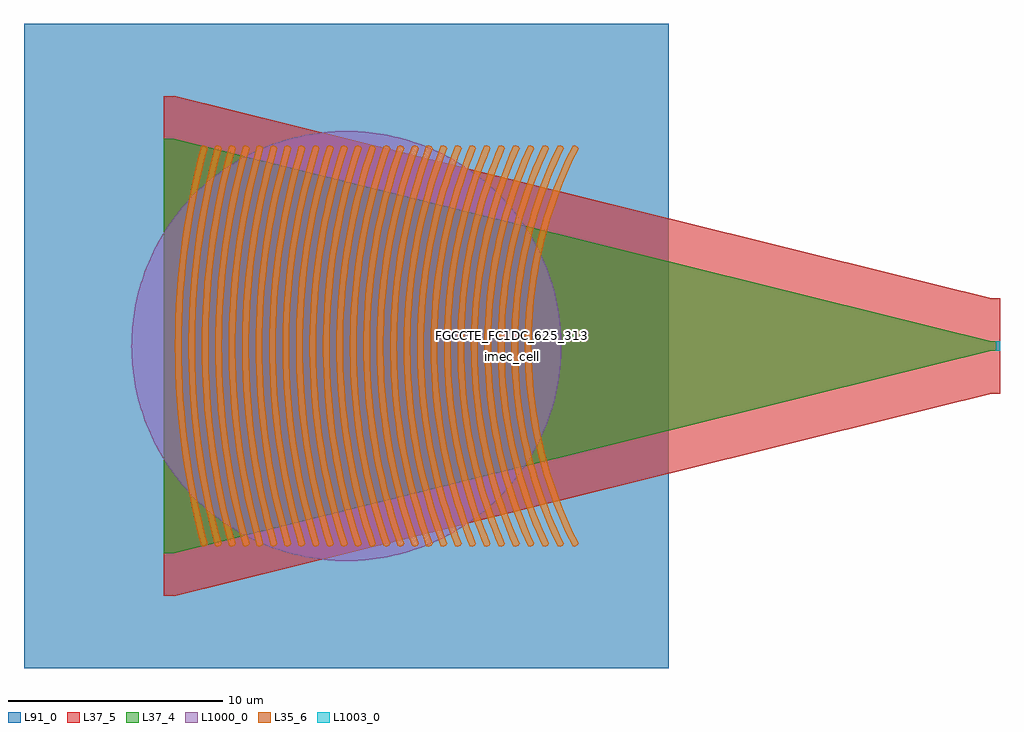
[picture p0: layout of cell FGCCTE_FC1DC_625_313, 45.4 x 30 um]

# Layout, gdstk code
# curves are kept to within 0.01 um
import gdstk
lib = gdstk.Library(unit=1e-6, precision=1e-09)
def R(c, l, rs):  # rectangles x0, y0, x1, y1
    for r in rs: c.add(gdstk.rectangle(r[:2], r[2:], *l))
def P(c, l, *ps):  # polygons
    for p in ps: c.add(gdstk.Polygon(p, *l))
L35_6 = (35, 6)
L37_4 = (37, 4)
L37_5 = (37, 5)
L91_0 = (91, 0)
L1000_0 = (1000, 0)
L1003_0 = (1003, 0)

fgccte_fc1dc_625_313 = lib.new_cell('FGCCTE_FC1DC_625_313')
P(fgccte_fc1dc_625_313, L35_6, [(10.629,-9.337),(10.518,-9.319),(10.058,-8.35),(9.78,-7.689),(9.525,-7.02),(9.293,-6.342),(9.084,-5.657),(8.9,-4.965),(8.668,-3.916),(8.545,-3.21),(8.446,-2.501),(8.371,-1.788),(8.321,-1.074),(8.293,0),(8.321,1.074),(8.371,1.788),(8.446,2.501),(8.545,3.21),(8.668,3.916),(8.9,4.965),(9.084,5.657),(9.293,6.342),(9.525,7.02),(9.78,7.689),(10.058,8.35),(10.518,9.319),(10.629,9.337),(10.745,9.279),(10.799,9.181),(10.345,8.223),(10.07,7.573),(9.819,6.914),(9.59,6.246),(9.385,5.571),(9.204,4.889),(9.046,4.202),(8.854,3.161),(8.717,2.112),(8.634,1.058),(8.606,0),(8.634,-1.058),(8.717,-2.112),(8.854,-3.161),(9.046,-4.202),(9.204,-4.889),(9.385,-5.571),(9.59,-6.246),(9.819,-6.914),(10.07,-7.573),(10.345,-8.223),(10.799,-9.181),(10.745,-9.279)],
  [(9.933,-9.337),(9.823,-9.317),(9.509,-8.646),(9.082,-7.618),(8.828,-6.921),(8.598,-6.215),(8.3,-5.143),(8.133,-4.42),(7.991,-3.691),(7.826,-2.591),(7.719,-1.483),(7.68,-0.742),(7.668,0),(7.68,0.742),(7.719,1.483),(7.826,2.591),(7.991,3.691),(8.133,4.42),(8.3,5.143),(8.598,6.215),(8.828,6.921),(9.082,7.618),(9.509,8.646),(9.823,9.317),(9.933,9.337),(10.051,9.281),(10.105,9.183),(9.795,8.519),(9.509,7.846),(9.124,6.819),(8.898,6.123),(8.696,5.421),(8.439,4.354),(8.239,3.276),(8.095,2.189),(8.009,1.096),(7.981,0),(8.009,-1.096),(8.095,-2.189),(8.239,-3.276),(8.439,-4.354),(8.696,-5.421),(8.898,-6.123),(9.124,-6.819),(9.509,-7.846),(9.795,-8.519),(10.105,-9.183),(10.051,-9.281)],
  [(9.242,-9.336),(9.132,-9.316),(8.675,-8.281),(8.401,-7.577),(8.151,-6.865),(7.925,-6.144),(7.635,-5.05),(7.401,-3.942),(7.225,-2.823),(7.108,-1.697),(7.062,-0.943),(7.042,-0.189),(7.062,0.943),(7.14,2.073),(7.277,3.197),(7.401,3.942),(7.55,4.682),(7.725,5.416),(7.925,6.144),(8.151,6.865),(8.401,7.577),(8.675,8.281),(9.132,9.316),(9.242,9.336),(9.36,9.282),(9.416,9.184),(8.965,8.162),(8.694,7.468),(8.448,6.766),(8.226,6.056),(8.028,5.338),(7.779,4.25),(7.587,3.151),(7.452,2.043),(7.394,1.301),(7.355,0.186),(7.375,-0.93),(7.452,-2.043),(7.587,-3.151),(7.779,-4.25),(8.028,-5.338),(8.226,-6.056),(8.448,-6.766),(8.694,-7.468),(8.965,-8.162),(9.416,-9.184),(9.36,-9.282)],
  [(8.555,-9.336),(8.445,-9.314),(7.993,-8.255),(7.722,-7.535),(7.362,-6.44),(7.154,-5.7),(6.971,-4.954),(6.814,-4.202),(6.682,-3.445),(6.534,-2.301),(6.445,-1.152),(6.416,0),(6.445,1.152),(6.534,2.301),(6.682,3.445),(6.814,4.202),(6.971,4.954),(7.154,5.7),(7.362,6.44),(7.722,7.535),(7.993,8.255),(8.445,9.314),(8.555,9.336),(8.674,9.283),(8.731,9.186),(8.427,8.49),(8.147,7.786),(7.774,6.712),(7.456,5.621),(7.276,4.885),(7.121,4.143),(6.936,3.021),(6.81,1.892),(6.758,1.136),(6.729,0),(6.758,-1.136),(6.81,-1.892),(6.936,-3.021),(7.121,-4.143),(7.276,-4.885),(7.456,-5.621),(7.774,-6.712),(8.147,-7.786),(8.427,-8.49),(8.731,-9.186),(8.674,-9.283)],
  [(7.872,-9.335),(7.762,-9.312),(7.451,-8.577),(7.166,-7.831),(6.787,-6.694),(6.567,-5.925),(6.374,-5.15),(6.136,-3.975),(5.96,-2.79),(5.845,-1.597),(5.804,-0.799),(5.79,0),(5.804,0.799),(5.845,1.597),(5.96,2.79),(6.136,3.975),(6.374,5.15),(6.567,5.925),(6.787,6.694),(7.166,7.831),(7.451,8.577),(7.762,9.312),(7.872,9.335),(7.991,9.284),(8.049,9.188),(7.598,8.093),(7.204,6.978),(6.975,6.224),(6.771,5.463),(6.516,4.308),(6.322,3.142),(6.188,1.968),(6.116,0.788),(6.103,0),(6.116,-0.788),(6.188,-1.968),(6.322,-3.142),(6.516,-4.308),(6.771,-5.463),(6.975,-6.224),(7.204,-6.978),(7.598,-8.093),(8.049,-9.188),(7.991,-9.284)],
  [(7.191,-9.335),(7.082,-9.311),(6.773,-8.558),(6.491,-7.794),(6.116,-6.63),(5.9,-5.845),(5.712,-5.052),(5.481,-3.852),(5.312,-2.642),(5.207,-1.425),(5.165,-0.204),(5.172,0.611),(5.207,1.425),(5.312,2.642),(5.481,3.852),(5.712,5.052),(5.9,5.845),(6.116,6.63),(6.491,7.794),(6.773,8.558),(7.082,9.311),(7.191,9.335),(7.311,9.285),(7.37,9.189),(6.922,8.068),(6.533,6.927),(6.307,6.156),(6.107,5.377),(5.859,4.197),(5.727,3.404),(5.582,2.207),(5.519,1.406),(5.478,0.201),(5.485,-0.603),(5.547,-1.807),(5.672,-3.006),(5.859,-4.197),(6.107,-5.377),(6.307,-6.156),(6.533,-6.927),(6.922,-8.068),(7.37,-9.189),(7.311,-9.285)],
  [(6.514,-9.335),(6.405,-9.309),(6.098,-8.538),(5.818,-7.756),(5.564,-6.964),(5.338,-6.164),(5.051,-4.951),(4.827,-3.725),(4.667,-2.489),(4.57,-1.246),(4.538,0),(4.57,1.246),(4.667,2.489),(4.827,3.725),(5.051,4.951),(5.338,6.164),(5.564,6.964),(5.818,7.756),(6.098,8.538),(6.405,9.309),(6.514,9.335),(6.635,9.286),(6.695,9.191),(6.249,8.042),(5.864,6.874),(5.641,6.084),(5.445,5.288),(5.203,4.081),(5.076,3.271),(4.939,2.048),(4.865,0.82),(4.851,0),(4.865,-0.82),(4.939,-2.048),(5.076,-3.271),(5.203,-4.081),(5.445,-5.288),(5.641,-6.084),(5.864,-6.874),(6.249,-8.042),(6.695,-9.191),(6.635,-9.286)],
  [(5.84,-9.334),(5.731,-9.308),(5.425,-8.517),(5.147,-7.716),(4.781,-6.497),(4.478,-5.261),(4.24,-4.012),(4.066,-2.751),(3.957,-1.484),(3.913,-0.212),(3.935,1.06),(4.022,2.329),(4.174,3.592),(4.392,4.846),(4.673,6.087),(4.896,6.906),(5.147,7.716),(5.425,8.517),(5.731,9.308),(5.84,9.334),(5.961,9.286),(6.022,9.192),(5.578,8.015),(5.196,6.818),(4.877,5.603),(4.62,4.373),(4.484,3.547),(4.334,2.3),(4.247,1.047),(4.226,0.209),(4.247,-1.047),(4.298,-1.883),(4.427,-3.132),(4.548,-3.961),(4.784,-5.195),(4.976,-6.01),(5.196,-6.818),(5.578,-8.015),(6.022,-9.192),(5.961,-9.286)],
  [(5.168,-9.334),(5.059,-9.306),(4.755,-8.496),(4.478,-7.675),(4.116,-6.427),(3.818,-5.162),(3.586,-3.883),(3.419,-2.595),(3.319,-1.299),(3.286,0),(3.319,1.299),(3.419,2.595),(3.586,3.883),(3.818,5.162),(4.116,6.427),(4.478,7.675),(4.755,8.496),(5.059,9.306),(5.168,9.334),(5.289,9.287),(5.351,9.194),(4.909,7.987),(4.531,6.76),(4.215,5.516),(3.964,4.258),(3.778,2.988),(3.691,2.137),(3.632,1.283),(3.599,0),(3.632,-1.283),(3.691,-2.137),(3.778,-2.988),(3.964,-4.258),(4.215,-5.516),(4.531,-6.76),(4.909,-7.987),(5.351,-9.194),(5.289,-9.287)],
  [(4.498,-9.334),(4.39,-9.305),(4.086,-8.474),(3.811,-7.633),(3.452,-6.354),(3.159,-5.059),(2.933,-3.75),(2.82,-2.872),(2.706,-1.549),(2.661,-0.221),(2.684,1.106),(2.775,2.431),(2.933,3.75),(3.159,5.059),(3.452,6.354),(3.811,7.633),(4.086,8.474),(4.39,9.305),(4.498,9.334),(4.62,9.288),(4.683,9.195),(4.242,7.957),(3.866,6.7),(3.555,5.426),(3.31,4.137),(3.183,3.271),(3.086,2.402),(3.019,1.53),(2.974,0.219),(2.982,-0.656),(3.049,-1.966),(3.183,-3.271),(3.31,-4.137),(3.555,-5.426),(3.866,-6.7),(4.242,-7.957),(4.683,-9.195),(4.62,-9.288)],
  [(3.831,-9.333),(3.722,-9.304),(3.419,-8.452),(3.145,-7.589),(2.789,-6.278),(2.501,-4.951),(2.347,-4.058),(2.173,-2.712),(2.069,-1.358),(2.034,0),(2.069,1.358),(2.173,2.712),(2.347,4.058),(2.501,4.951),(2.789,6.278),(3.145,7.589),(3.419,8.452),(3.722,9.304),(3.831,9.333),(3.953,9.289),(4.016,9.196),(3.577,7.927),(3.203,6.638),(2.896,5.331),(2.656,4.011),(2.534,3.124),(2.408,1.788),(2.363,0.895),(2.347,0),(2.363,-0.895),(2.408,-1.788),(2.534,-3.124),(2.656,-4.011),(2.896,-5.331),(3.203,-6.638),(3.577,-7.927),(4.016,-9.196),(3.953,-9.289)],
  [(3.165,-9.333),(3.057,-9.303),(2.614,-7.987),(2.238,-6.649),(1.931,-5.293),(1.694,-3.924),(1.528,-2.544),(1.433,-1.158),(1.409,-0.232),(1.433,1.158),(1.528,2.544),(1.694,3.924),(1.844,4.838),(2.128,6.199),(2.481,7.543),(2.754,8.428),(3.057,9.303),(3.165,9.333),(3.288,9.289),(3.352,9.197),(3.052,8.331),(2.657,7.015),(2.331,5.68),(2.074,4.331),(1.941,3.425),(1.84,2.515),(1.769,1.602),(1.722,0.229),(1.73,-0.687),(1.769,-1.602),(1.84,-2.515),(2.004,-3.878),(2.238,-5.232),(2.541,-6.572),(2.913,-7.894),(3.352,-9.197),(3.288,-9.289)],
  [(2.502,-9.333),(2.394,-9.301),(1.95,-7.951),(1.576,-6.577),(1.273,-5.187),(1.042,-3.783),(0.884,-2.369),(0.819,-1.422),(0.782,0),(0.819,1.422),(0.884,2.369),(1.042,3.783),(1.273,5.187),(1.576,6.577),(1.95,7.951),(2.394,9.301),(2.502,9.333),(2.624,9.29),(2.689,9.199),(2.25,7.861),(1.88,6.503),(1.581,5.128),(1.421,4.204),(1.292,3.275),(1.196,2.342),(1.111,0.938),(1.095,0),(1.111,-0.938),(1.196,-2.342),(1.292,-3.275),(1.421,-4.204),(1.581,-5.128),(1.88,-6.503),(2.25,-7.861),(2.689,-9.199),(2.624,-9.29)],
  [(1.84,-9.332),(1.732,-9.3),(1.288,-7.913),(0.916,-6.503),(0.616,-5.076),(0.391,-3.635),(0.283,-2.669),(0.183,-1.215),(0.158,-0.243),(0.166,0.729),(0.241,2.185),(0.391,3.635),(0.616,5.076),(0.916,6.503),(1.288,7.913),(1.732,9.3),(1.84,9.332),(1.963,9.291),(2.029,9.2),(1.588,7.825),(1.22,6.431),(0.924,5.02),(0.768,4.071),(0.644,3.118),(0.553,2.161),(0.495,1.201),(0.471,0.24),(0.495,-1.201),(0.553,-2.161),(0.644,-3.118),(0.768,-4.071),(0.924,-5.02),(1.22,-6.431),(1.588,-7.825),(2.029,-9.2),(1.963,-9.291)],
  [(1.179,-9.332),(1.072,-9.299),(0.627,-7.873),(0.256,-6.425),(-0.04,-4.959),(-0.259,-3.48),(-0.362,-2.489),(-0.431,-1.494),(-0.469,0),(-0.431,1.494),(-0.362,2.489),(-0.259,3.48),(-0.04,4.959),(0.256,6.425),(0.627,7.873),(1.072,9.299),(1.179,9.332),(1.303,9.291),(1.369,9.201),(0.928,7.788),(0.675,6.835),(0.358,5.39),(0.116,3.931),(-0.003,2.953),(-0.088,1.97),(-0.139,0.986),(-0.156,0),(-0.139,-0.986),(-0.088,-1.97),(-0.003,-2.953),(0.116,-3.931),(0.358,-5.39),(0.675,-6.835),(0.928,-7.788),(1.369,-9.201),(1.303,-9.291)],
  [(0.521,-9.332),(0.413,-9.298),(-0.033,-7.832),(-0.403,-6.343),(-0.606,-5.34),(-0.846,-3.825),(-0.961,-2.809),(-1.068,-1.278),(-1.094,-0.256),(-1.068,1.278),(-1.005,2.299),(-0.846,3.825),(-0.695,4.836),(-0.403,6.343),(-0.033,7.832),(0.413,9.298),(0.521,9.332),(0.644,9.292),(0.711,9.202),(0.407,8.235),(0.016,6.768),(-0.299,5.283),(-0.465,4.285),(-0.597,3.282),(-0.693,2.275),(-0.755,1.265),(-0.781,0.253),(-0.772,-0.759),(-0.728,-1.77),(-0.649,-2.779),(-0.535,-3.784),(-0.299,-5.283),(0.016,-6.768),(0.407,-8.235),(0.711,-9.202),(0.644,-9.292)],
  [(-0.137,-9.332),(-0.244,-9.297),(-0.681,-7.829),(-1.044,-6.34),(-1.243,-5.337),(-1.477,-3.822),(-1.59,-2.806),(-1.668,-1.787),(-1.72,-0.256),(-1.712,0.766),(-1.633,2.297),(-1.538,3.315),(-1.329,4.834),(-1.044,6.34),(-0.681,7.829),(-0.244,9.297),(-0.137,9.332),(-0.013,9.292),(0.055,9.203),(-0.243,8.235),(-0.626,6.767),(-0.935,5.281),(-1.098,4.283),(-1.226,3.28),(-1.321,2.273),(-1.381,1.264),(-1.407,0.253),(-1.399,-0.758),(-1.356,-1.769),(-1.278,-2.777),(-1.166,-3.782),(-0.935,-5.281),(-0.738,-6.273),(-0.379,-7.748),(0.055,-9.203),(-0.013,-9.292)],
  [(-0.793,-9.331),(-0.9,-9.296),(-1.339,-7.786),(-1.701,-6.253),(-1.898,-5.222),(-2.127,-3.665),(-2.235,-2.621),(-2.307,-1.574),(-2.347,0),(-2.307,1.574),(-2.235,2.621),(-2.127,3.665),(-1.898,5.222),(-1.701,6.253),(-1.339,7.786),(-0.9,9.296),(-0.793,9.331),(-0.669,9.293),(-0.601,9.204),(-1.037,7.706),(-1.284,6.697),(-1.496,5.68),(-1.749,4.142),(-1.874,3.111),(-1.963,2.076),(-2.016,1.039),(-2.034,0),(-2.016,-1.039),(-1.963,-2.076),(-1.874,-3.111),(-1.749,-4.142),(-1.589,-5.169),(-1.284,-6.697),(-1.037,-7.706),(-0.601,-9.204),(-0.669,-9.293)],
  [(-1.448,-9.331),(-1.554,-9.295),(-1.996,-7.74),(-2.358,-6.163),(-2.553,-5.102),(-2.711,-4.034),(-2.879,-2.425),(-2.944,-1.348),(-2.972,-0.27),(-2.963,0.809),(-2.879,2.425),(-2.711,4.034),(-2.553,5.102),(-2.358,6.163),(-1.996,7.74),(-1.554,9.295),(-1.448,9.331),(-1.324,9.293),(-1.255,9.205),(-1.556,8.178),(-1.941,6.623),(-2.244,5.05),(-2.4,3.994),(-2.567,2.401),(-2.631,1.335),(-2.659,0.267),(-2.65,-0.801),(-2.604,-1.868),(-2.52,-2.933),(-2.4,-3.994),(-2.244,-5.05),(-1.941,-6.623),(-1.556,-8.178),(-1.255,-9.205),(-1.324,-9.293)],
  [(-2.102,-9.331),(-2.208,-9.295),(-2.653,-7.692),(-3.014,-6.067),(-3.207,-4.974),(-3.362,-3.875),(-3.478,-2.771),(-3.58,-1.11),(-3.599,0),(-3.58,1.11),(-3.478,2.771),(-3.362,3.875),(-3.207,4.974),(-3.014,6.067),(-2.653,7.692),(-2.208,9.295),(-2.102,9.331),(-1.977,9.294),(-1.908,9.205),(-2.212,8.148),(-2.597,6.545),(-2.898,4.925),(-3.051,3.837),(-3.166,2.744),(-3.243,1.648),(-3.286,0),(-3.243,-1.648),(-3.166,-2.744),(-3.051,-3.837),(-2.898,-4.925),(-2.597,-6.545),(-2.212,-8.148),(-1.908,-9.205),(-1.977,-9.294)],
  [(-2.754,-9.331),(-2.86,-9.294),(-3.297,-7.69),(-3.651,-6.064),(-3.84,-4.971),(-4.054,-3.322),(-4.149,-2.217),(-4.206,-1.109),(-4.225,0),(-4.206,1.109),(-4.149,2.217),(-4.054,3.322),(-3.84,4.971),(-3.651,6.064),(-3.297,7.69),(-2.86,9.294),(-2.754,9.331),(-2.63,9.294),(-2.56,9.206),(-2.858,8.148),(-3.236,6.544),(-3.442,5.465),(-3.681,3.835),(-3.743,3.289),(-3.837,2.195),(-3.893,1.098),(-3.912,0),(-3.893,-1.098),(-3.837,-2.195),(-3.743,-3.289),(-3.681,-3.835),(-3.442,-5.465),(-3.236,-6.544),(-2.858,-8.148),(-2.56,-9.206),(-2.63,-9.294)],
  [(-3.406,-9.33),(-3.512,-9.293),(-3.815,-8.193),(-4.08,-7.082),(-4.405,-5.4),(-4.573,-4.271),(-4.751,-2.567),(-4.82,-1.427),(-4.85,-0.286),(-4.84,0.856),(-4.751,2.567),(-4.642,3.704),(-4.494,4.836),(-4.198,6.523),(-3.952,7.639),(-3.815,8.193),(-3.512,9.293),(-3.406,9.33),(-3.281,9.295),(-3.211,9.207),(-3.648,7.566),(-3.891,6.461),(-4.096,5.349),(-4.262,4.23),(-4.331,3.669),(-4.439,2.543),(-4.507,1.414),(-4.537,0.283),(-4.527,-0.848),(-4.478,-1.978),(-4.439,-2.543),(-4.331,-3.669),(-4.096,-5.349),(-3.891,-6.461),(-3.648,-7.566),(-3.211,-9.207),(-3.281,-9.295)],
  [(-4.057,-9.33),(-4.162,-9.292),(-4.46,-8.191),(-4.595,-7.637),(-4.836,-6.521),(-5.039,-5.398),(-5.204,-4.269),(-5.33,-3.134),(-5.417,-1.996),(-5.476,-0.285),(-5.466,0.856),(-5.417,1.996),(-5.272,3.702),(-5.126,4.834),(-4.836,6.521),(-4.595,7.637),(-4.316,8.744),(-4.162,9.292),(-4.057,9.33),(-3.931,9.295),(-3.861,9.208),(-4.29,7.566),(-4.529,6.46),(-4.73,5.348),(-4.893,4.229),(-5.018,3.105),(-5.105,1.978),(-5.163,0.283),(-5.134,-1.413),(-5.066,-2.542),(-4.961,-3.667),(-4.73,-5.348),(-4.529,-6.46),(-4.29,-7.566),(-3.861,-9.208),(-3.931,-9.295)],
  [(-4.706,-9.33),(-4.812,-9.291),(-5.113,-8.155),(-5.49,-6.432),(-5.692,-5.273),(-5.778,-4.691),(-5.92,-3.523),(-6.022,-2.351),(-6.082,-1.176),(-6.103,0),(-6.082,1.176),(-6.022,2.351),(-5.92,3.523),(-5.778,4.691),(-5.692,5.273),(-5.49,6.432),(-5.113,8.155),(-4.812,9.291),(-4.706,9.33),(-4.581,9.296),(-4.51,9.209),(-4.809,8.08),(-5.183,6.373),(-5.383,5.224),(-5.544,4.07),(-5.609,3.491),(-5.709,2.329),(-5.77,1.165),(-5.79,0),(-5.77,-1.165),(-5.709,-2.329),(-5.609,-3.491),(-5.544,-4.07),(-5.383,-5.224),(-5.183,-6.373),(-4.809,-8.08),(-4.51,-9.209),(-4.581,-9.296)],
  [(-5.355,-9.33),(-5.461,-9.291),(-5.756,-8.154),(-5.89,-7.581),(-6.127,-6.43),(-6.326,-5.271),(-6.485,-4.106),(-6.649,-2.35),(-6.709,-1.176),(-6.729,0),(-6.709,1.176),(-6.649,2.35),(-6.485,4.106),(-6.326,5.271),(-6.127,6.43),(-5.89,7.581),(-5.756,8.154),(-5.461,9.291),(-5.355,9.33),(-5.23,9.296),(-5.158,9.209),(-5.452,8.08),(-5.82,6.372),(-6.016,5.223),(-6.174,4.069),(-6.337,2.329),(-6.396,1.165),(-6.416,0),(-6.396,-1.165),(-6.337,-2.329),(-6.174,-4.069),(-6.016,-5.223),(-5.82,-6.372),(-5.452,-8.08),(-5.158,-9.209),(-5.23,-9.296)],
  [(-6.003,-9.329),(-6.109,-9.29),(-6.408,-8.116),(-6.667,-6.93),(-6.781,-6.335),(-6.978,-5.138),(-7.134,-3.935),(-7.249,-2.727),(-7.322,-1.516),(-7.353,-0.303),(-7.343,0.91),(-7.291,2.122),(-7.197,3.331),(-7.134,3.935),(-6.978,5.138),(-6.781,6.335),(-6.667,6.93),(-6.408,8.116),(-6.109,9.29),(-6.003,9.329),(-5.878,9.296),(-5.806,9.21),(-6.103,8.044),(-6.36,6.869),(-6.576,5.686),(-6.669,5.092),(-6.823,3.9),(-6.937,2.703),(-7.009,1.503),(-7.04,0.301),(-7.03,-0.902),(-7.009,-1.503),(-6.937,-2.703),(-6.823,-3.9),(-6.669,-5.092),(-6.576,-5.686),(-6.36,-6.869),(-6.103,-8.044),(-5.806,-9.21),(-5.878,-9.296)],
  [(-6.651,-9.329),(-6.756,-9.289),(-7.059,-8.075),(-7.32,-6.849),(-7.538,-5.615),(-7.631,-4.996),(-7.784,-3.752),(-7.893,-2.504),(-7.959,-1.253),(-7.981,0),(-7.959,1.253),(-7.893,2.504),(-7.784,3.752),(-7.631,4.996),(-7.538,5.615),(-7.32,6.849),(-7.059,8.075),(-6.756,9.289),(-6.651,9.329),(-6.525,9.297),(-6.453,9.211),(-6.609,8.608),(-6.889,7.398),(-7.126,6.179),(-7.321,4.952),(-7.472,3.719),(-7.581,2.482),(-7.646,1.242),(-7.668,0),(-7.646,-1.242),(-7.581,-2.482),(-7.472,-3.719),(-7.321,-4.952),(-7.126,-6.179),(-6.889,-7.398),(-6.609,-8.608),(-6.453,-9.211),(-6.525,-9.297)])
R(fgccte_fc1dc_625_313, L37_4, [(30,-0.225,30.2,0.225), (30.2,-0.225,30.4,0.225)])
P(fgccte_fc1dc_625_313, L37_4, [(-8,-9.631),(-8,9.631),(30,0.225),(30,-0.225)],
  [(-8.5,-9.656),(-8.5,9.656),(-8,9.631),(-8,-9.631)])
R(fgccte_fc1dc_625_313, L37_5, [(30,-2.225,30.2,2.225), (30.2,-2.225,30.4,2.225)])
P(fgccte_fc1dc_625_313, L37_5, [(-8,-11.631),(-8,11.631),(30,2.225),(30,-2.225)],
  [(-8,-11.631),(-8.5,-11.606),(-8.5,11.606),(-8,11.631)])
R(fgccte_fc1dc_625_313, L91_0, [(-15,-15,15,15)])
P(fgccte_fc1dc_625_313, L1000_0, [(0,-10),(-0.872,-9.962),(-1.392,-9.903),(-1.908,-9.816),(-2.756,-9.613),(-3.256,-9.455),(-3.746,-9.272),(-4.54,-8.91),(-5,-8.66),(-5.446,-8.387),(-5.878,-8.09),(-6.293,-7.771),(-6.691,-7.431),(-7.071,-7.071),(-7.431,-6.691),(-7.771,-6.293),(-8.09,-5.878),(-8.387,-5.446),(-8.66,-5),(-8.91,-4.54),(-9.272,-3.746),(-9.455,-3.256),(-9.613,-2.756),(-9.816,-1.908),(-9.903,-1.392),(-9.962,-0.872),(-10,0),(-9.962,0.872),(-9.903,1.392),(-9.816,1.908),(-9.613,2.756),(-9.455,3.256),(-9.272,3.746),(-8.91,4.54),(-8.66,5),(-8.387,5.446),(-8.09,5.878),(-7.771,6.293),(-7.431,6.691),(-7.071,7.071),(-6.691,7.431),(-6.293,7.771),(-5.878,8.09),(-5.446,8.387),(-5,8.66),(-4.54,8.91),(-3.746,9.272),(-3.256,9.455),(-2.756,9.613),(-1.908,9.816),(-1.392,9.903),(-0.872,9.962),(0,10),(0.872,9.962),(1.392,9.903),(1.908,9.816),(2.756,9.613),(3.256,9.455),(3.746,9.272),(4.54,8.91),(5,8.66),(5.446,8.387),(5.878,8.09),(6.293,7.771),(6.691,7.431),(7.071,7.071),(7.431,6.691),(7.771,6.293),(8.09,5.878),(8.387,5.446),(8.66,5),(8.91,4.54),(9.272,3.746),(9.455,3.256),(9.613,2.756),(9.816,1.908),(9.903,1.392),(9.962,0.872),(10,0),(9.962,-0.872),(9.903,-1.392),(9.816,-1.908),(9.613,-2.756),(9.455,-3.256),(9.272,-3.746),(8.91,-4.54),(8.66,-5),(8.387,-5.446),(8.09,-5.878),(7.771,-6.293),(7.431,-6.691),(7.071,-7.071),(6.691,-7.431),(6.293,-7.771),(5.878,-8.09),(5.446,-8.387),(5,-8.66),(4.54,-8.91),(3.746,-9.272),(3.256,-9.455),(2.756,-9.613),(1.908,-9.816),(1.392,-9.903),(0.872,-9.962)])
R(fgccte_fc1dc_625_313, L1003_0, [(30.2,-0.225,30.4,0.225)])
fgccte_fc1dc_625_313.add(gdstk.Label('FGCCTE_FC1DC_625_313', (7.7,0.5), layer=1002, texttype=0))
fgccte_fc1dc_625_313.add(gdstk.Label('ISIPP50G_2_3_0', (7.7,0), layer=1002, texttype=0))
fgccte_fc1dc_625_313.add(gdstk.Label('imec_cell', (7.7,-0.5), layer=1002, texttype=0))

lib.write_gds('FGCCTE_FC1DC_625_313.gds')
